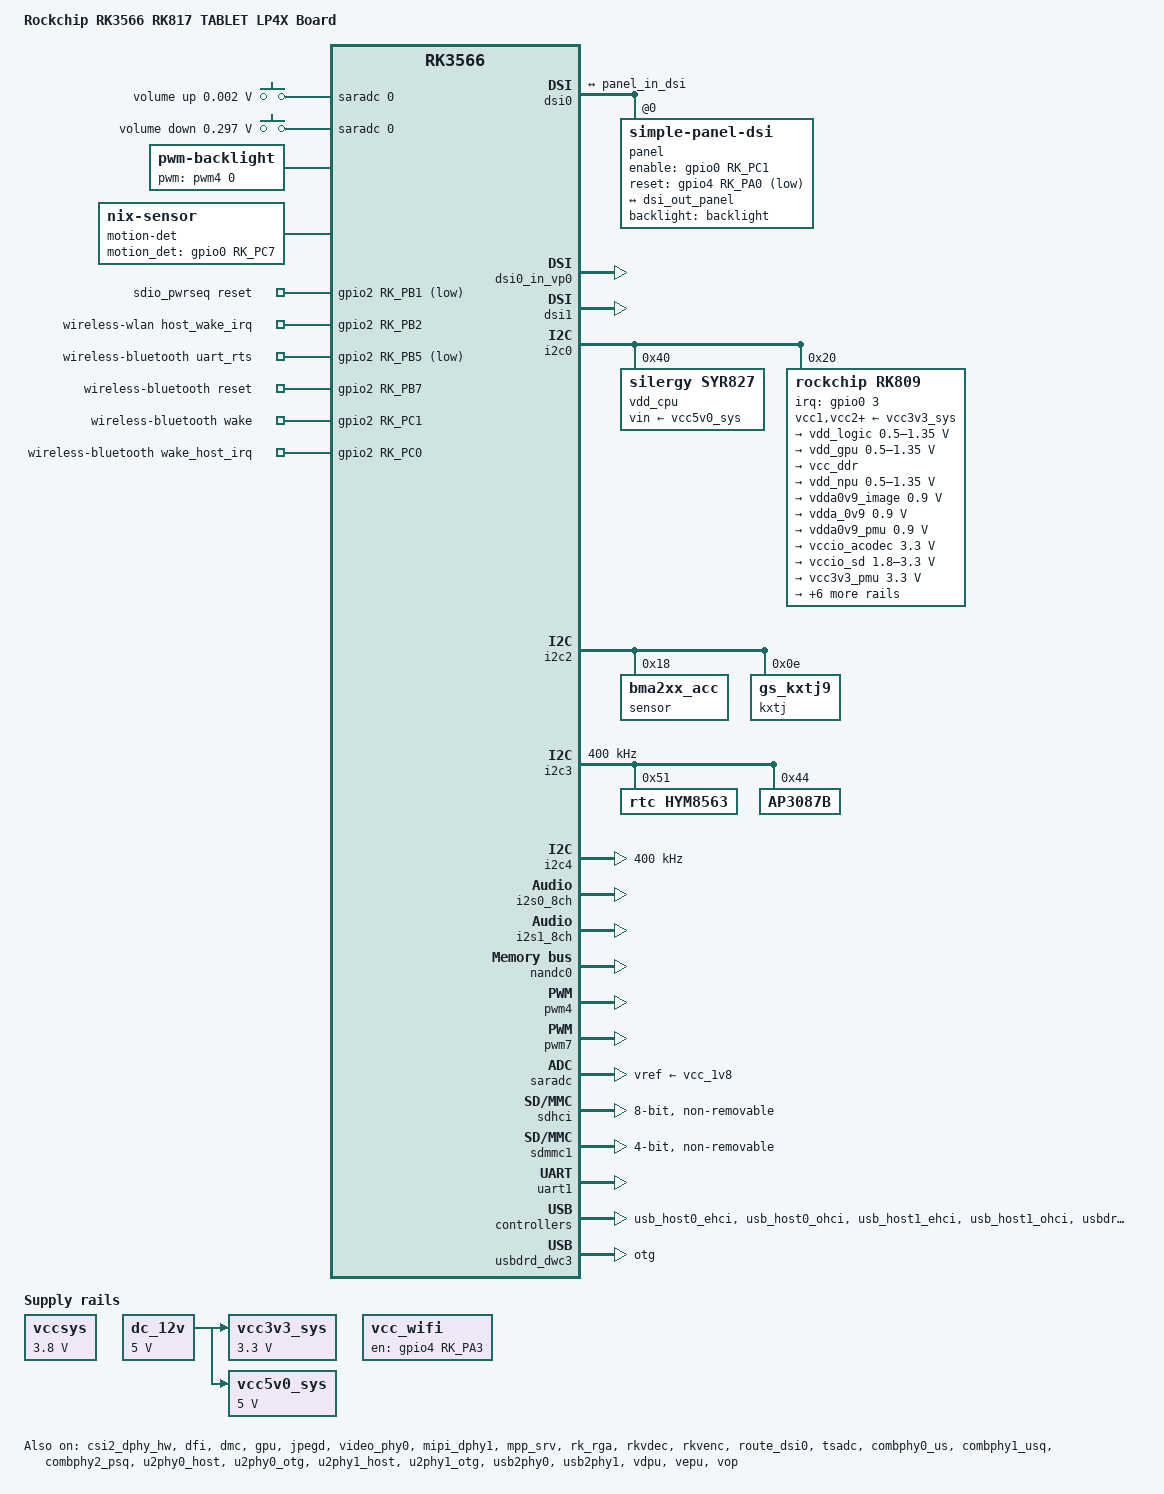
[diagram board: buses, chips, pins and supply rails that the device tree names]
// SPDX-License-Identifier: (GPL-2.0+ OR MIT)
/*
 * Copyright (c) 2020 Rockchip Electronics Co., Ltd.
 *
 */

/dts-v1/;

#include <dt-bindings/gpio/gpio.h>
#include <dt-bindings/pinctrl/rockchip.h>
#include <dt-bindings/input/rk-input.h>
#include <dt-bindings/sensor-dev.h>
#include <dt-bindings/display/drm_mipi_dsi.h>
#include "rk3566.dtsi"
#include "rk3568-android.dtsi"

/ {
	model = "Rockchip RK3566 RK817 TABLET LP4X Board";
	compatible = "rockchip,rk3566-rk817-tablet", "rockchip,rk3566";

	adc_keys: adc-keys {
		compatible = "adc-keys";
		io-channels = <&saradc 0>;
		io-channel-names = "buttons";
		keyup-threshold-microvolt = <1800000>;
		poll-interval = <100>;

		vol-up-key {
			label = "volume up";
			linux,code = <KEY_VOLUMEUP>;
			press-threshold-microvolt = <1750>;
		};

		vol-down-key {
			label = "volume down";
			linux,code = <KEY_VOLUMEDOWN>;
			press-threshold-microvolt = <297500>;
		};
	};

	backlight: backlight {
		compatible = "pwm-backlight";
		pwms = <&pwm4 0 30000 0>;
		brightness-levels = <
			  0   1   2   3   4   5   6   7
			  8   9  10  11  12  13  14  15
			 16  17  18  19  20  21  22  23
			 24  25  26  27  28  29  30  31
			 32  33  34  35  36  37  38  39
			 40  41  42  43  44  45  46  47
			 48  49  50  51  52  53  54  55
			 56  57  58  59  60  61  62  63
			 64  65  66  67  68  69  70  71
			 72  73  74  75  76  77  78  79
			 80  81  82  83  84  85  86  87
			 88  89  90  91  92  93  94  95
			 96  97  98  99 100 101 102 103
			104 105 106 107 108 109 110 111
			112 113 114 115 116 117 118 119
			120 121 122 123 124 125 126 127
			128 129 130 131 132 133 134 135
			136 137 138 139 140 141 142 143
			144 145 146 147 148 149 150 151
			152 153 154 155 156 157 158 159
			160 161 162 163 164 165 166 167
			168 169 170 171 172 173 174 175
			176 177 178 179 180 181 182 183
			184 185 186 187 188 189 190 191
			192 193 194 195 196 197 198 199
			200 201 202 203 204 205 206 207
			208 209 210 211 212 213 214 215
			216 217 218 219 220 221 222 223
			224 225 226 227 228 229 230 231
			232 233 234 235 236 237 238 239
			240 241 242 243 244 245 246 247
			248 249 250 251 252 253 254 255>;
		default-brightness-level = <200>;
		//enable-gpios = <&gpio4 RK_PC4 GPIO_ACTIVE_HIGH>;
		//pinctrl-names = "default";
		//pinctrl-0 = <&bl_en>;
	};

	charge-animation {
		compatible = "rockchip,uboot-charge";
		rockchip,uboot-charge-on = <1>;
		rockchip,android-charge-on = <0>;
		rockchip,uboot-low-power-voltage = <3350>;
		rockchip,screen-on-voltage = <3400>;
		status = "disabled";
	};

	/*flash_rgb13h: flash-rgb13h {
		status = "disabled";
		compatible = "led,rgb13h";
		label = "gpio-flash";
		pinctrl-names = "default";
		pinctrl-0 = <&flash_led_gpios>;
		led-max-microamp = <20000>;
		flash-max-microamp = <20000>;
		flash-max-timeout-us = <1000000>;
		enable-gpio = <&gpio4 6 GPIO_ACTIVE_HIGH>;
		rockchip,camera-module-index = <0>;
		rockchip,camera-module-facing = "back";
	};*/
	
	/*wifi-power {
		compatible = "rockchip,wifi-power";
		wifi-gpio = <&gpio4 RK_PA3 GPIO_ACTIVE_HIGH>;
		pinctrl-names = "default";
		pinctrl-0 = <&wifi_bat>;
	
	};*/
	
	motion-det{
	    compatible = "nix-sensor";
	    motion_det = <&gpio0 RK_PC7 GPIO_ACTIVE_HIGH>;
	    pinctrl-names = "default";
		pinctrl-0 = <&human_det>;
	   status = "okay";
    };

	hdmi_sound: hdmi-sound {
		compatible = "simple-audio-card";
		simple-audio-card,format = "i2s";
		simple-audio-card,mclk-fs = <128>;
		simple-audio-card,name = "rockchip,hdmi";
		status = "disabled";

		simple-audio-card,cpu {
				sound-dai = <&i2s0_8ch>;
		};
		simple-audio-card,codec {
				sound-dai = <&hdmi>;
		};
	};

	vccsys: vccsys {
		compatible = "regulator-fixed";
		regulator-name = "vcc3v8_sys";
		regulator-always-on;
		regulator-boot-on;
		regulator-min-microvolt = <3800000>;
		regulator-max-microvolt = <3800000>;
	};
	
	dc_12v: dc-12v {
		compatible = "regulator-fixed";
		regulator-name = "dc_12v";
		regulator-always-on;
		regulator-boot-on;
		regulator-min-microvolt = <5000000>;//12000000
		regulator-max-microvolt = <5000000>;//12000000
	};
	
	vcc3v3_sys: vcc3v3-sys {
		compatible = "regulator-fixed";
		regulator-name = "vcc3v3_sys";
		regulator-always-on;
		regulator-boot-on;
		regulator-min-microvolt = <3300000>;
		regulator-max-microvolt = <3300000>;
		vin-supply = <&dc_12v>;
	};

	vcc5v0_sys: vcc5v0-sys {
		compatible = "regulator-fixed";
		regulator-name = "vcc5v0_sys";
		regulator-always-on;
		regulator-boot-on;
		regulator-min-microvolt = <5000000>;
		regulator-max-microvolt = <5000000>;
		vin-supply = <&dc_12v>;
	};
	
	vcc_wifi: vcc-wifi-regulator {
		compatible = "regulator-fixed";
		gpio = <&gpio4 RK_PA3 GPIO_ACTIVE_HIGH>;
		pinctrl-names = "default";
		pinctrl-0 = <&wifi_bat>;
		regulator-name = "vcc_wifi";
		enable-active-high;
		regulator-always-on;
		regulator-boot-on;
	};

	/*vcc_camera: vcc-camera-regulator {
		compatible = "regulator-fixed";
		gpio = <&gpio2 RK_PC0 GPIO_ACTIVE_HIGH>;
		pinctrl-names = "default";
		pinctrl-0 = <&camera_pwr>;
		regulator-name = "vcc_camera";
		enable-active-high;
		regulator-always-on;
		regulator-boot-on;
	};*/
	
	/*vcc_4g: vcc-4g-regulator {
		compatible = "regulator-fixed";
		gpio = <&gpio2 RK_PB1 GPIO_ACTIVE_HIGH>;
		pinctrl-names = "default";
		pinctrl-0 = <&pwr_4g>;
		regulator-name = "vcc_4g";
		enable-active-high;
		regulator-always-on;
		regulator-boot-on;
	};*/

	rk809_sound: rk809-sound {
		status = "okay";
		compatible = "simple-audio-card";
		simple-audio-card,format = "i2s";
		simple-audio-card,name = "rockchip,rk809-codec";
		simple-audio-card,mclk-fs = <256>;

		simple-audio-card,cpu {
			sound-dai = <&i2s1_8ch>;
		};
		simple-audio-card,codec {
			sound-dai = <&rk809_codec>;
		};
	};

	/*rk_headset: rk-headset {
		compatible = "rockchip_headset";
		headset_gpio = <&gpio4 RK_PA1 GPIO_ACTIVE_LOW>;
		pinctrl-names = "default";
		pinctrl-0 = <&hp_det>;
		io-channels = <&saradc 2>;
	};*/

	sdio_pwrseq: sdio-pwrseq {
		compatible = "mmc-pwrseq-simple";
		clocks = <&rk809 1>;
		clock-names = "ext_clock";
		pinctrl-names = "default";
		pinctrl-0 = <&wifi_enable_h>;

		/*
		 * On the module itself this is one of these (depending
		 * on the actual card populated):
		 * - SDIO_RESET_L_WL_REG_ON
		 * - PDN (power down when low)
		 */
		post-power-on-delay-ms = <200>;
		reset-gpios = <&gpio2 RK_PB1 GPIO_ACTIVE_LOW>;
	};

	/*vcc_sd: vcc-sd {
		compatible = "regulator-gpio";
		enable-active-low;
		enable-gpio = <&gpio0 RK_PA5 GPIO_ACTIVE_LOW>;
		regulator-min-microvolt = <3300000>;
		regulator-max-microvolt = <3300000>;
		pinctrl-names = "default";
		pinctrl-0 = <&vcc_sd_h>;
		regulator-name = "vcc_sd";
		states = <3300000 0x0
			3300000 0x1>;
	};*/
	
	/*vcc_lcd: vcc-lcd-regulator {
		compatible = "regulator-fixed";
		gpio = <&gpio2 RK_PC1 GPIO_ACTIVE_HIGH>;
		pinctrl-names = "default";
		pinctrl-0 = <&lcd_enable_gpio>;
		regulator-name = "vcc_lcd";
		enable-active-high;
		regulator-always-on;
		regulator-boot-on;
	};*/

	wireless-wlan {
		compatible = "wlan-platdata";
		rockchip,grf = <&grf>;
		wifi_chip_type = "ap6255";//ap6255//rtl8723ds
		pinctrl-names = "default";
		pinctrl-0 = <&wifi_host_wake_irq>;
		//pinctrl-0 = <&wifi_host_wake_irq>,<&wifi_bat>;
		WIFI,host_wake_irq = <&gpio2 RK_PB2 GPIO_ACTIVE_HIGH>;
		//WIFI,vbat_gpio  = <&gpio4 RK_PA3 GPIO_ACTIVE_HIGH>;
		status = "okay";
	};

	wireless-bluetooth {
		compatible = "bluetooth-platdata";
		clocks = <&rk809 1>;
		clock-names = "ext_clock";
		//wifi-bt-power-toggle;
		uart_rts_gpios = <&gpio2 RK_PB5 GPIO_ACTIVE_LOW>;
		pinctrl-names = "default", "rts_gpio";
		pinctrl-0 = <&uart1m0_rtsn>;
		pinctrl-1 = <&uart1_gpios>;
		BT,reset_gpio    = <&gpio2 RK_PB7 GPIO_ACTIVE_HIGH>;
		BT,wake_gpio     = <&gpio2 RK_PC1 GPIO_ACTIVE_HIGH>;
		BT,wake_host_irq = <&gpio2 RK_PC0 GPIO_ACTIVE_HIGH>;
		status = "okay";
	};
	
	//add by rocky
	test-power {
		status = "okay";
	};

};

&cpu0 {
	cpu-supply = <&vdd_cpu>;
};

&csi2_dphy_hw {
	status = "okay";
};

&csi2_dphy0 {
	status = "disabled";

	ports {
		#address-cells = <1>;
		#size-cells = <0>;
		port@0 {
			reg = <0>;
			#address-cells = <1>;
			#size-cells = <0>;

			/*mipi_in_ucam0: endpoint@0 {
				reg = <0>;
				remote-endpoint = <&gc2385_out>;
				data-lanes = <1>;
			};
			mipi_in_ucam1: endpoint@1 {
				reg = <1>;
				remote-endpoint = <&ov8858_out>;
				data-lanes = <1 2 3 4>;
			};*/
			
			mipi_in_ucam0: endpoint@0 {
				reg = <0>;
				remote-endpoint = <&ov5648_out>;
				data-lanes = <1 2>;
			};
		};
		port@1 {
			reg = <1>;
			#address-cells = <1>;
			#size-cells = <0>;

			csidphy0_out: endpoint@0 {
				reg = <0>;
				remote-endpoint = <&isp0_in>;
			};
		};
	};
};

&dfi {
	status = "okay";
};

&dmc {
	center-supply = <&vdd_logic>;
	status = "okay";
};

&dsi0 {
	status = "okay";
	//rockchip,lane-rate = <480>;
	rockchip,dual-channel = <&dsi1>;
	//rockchip,mipi_dsi_num = <2>;
	panel@0 {
		status = "okay";
		//compatible = "aoly,sl008pa21y1285-b00", "simple-panel-dsi";
		compatible = "simple-panel-dsi";
		reg = <0>;

		backlight = <&backlight>;
		//power-supply=<&vcc_3v3>;
		enable-gpios = <&gpio0 RK_PC1 GPIO_ACTIVE_HIGH>;
		reset-gpios = <&gpio4 RK_PA0 GPIO_ACTIVE_LOW>;

		pinctrl-names = "default";
		pinctrl-0 = <&lcd_enable_gpio>, <&lcd_rst_gpio>;

		/*prepare-delay-ms = <120>;
		reset-delay-ms = <200>;
		init-delay-ms = <20>;
		stbyb-delay-ms = <120>;
		enable-delay-ms = <120>;
		disable-delay-ms = <120>;
		unprepare-delay-ms = <120>;*/
		prepare-delay-ms = <60>;
		unprepare-delay-ms = <60>;
		enable-delay-ms = <60>;
		disable-delay-ms = <60>;
		init-delay-ms = <60>;
		reset-delay-ms = <60>;

		//width-mm = <229>;
		//height-mm = <143>;

		dsi,flags = <(MIPI_DSI_MODE_VIDEO | MIPI_DSI_MODE_VIDEO_BURST |
			      MIPI_DSI_MODE_LPM | MIPI_DSI_MODE_EOT_PACKET)>;
		dsi,format = <MIPI_DSI_FMT_RGB888>;
		//dsi,lanes = <4>;
		dsi,lanes = <8>;

		panel-init-sequence = [
            15 00 02 B0 05
			15 00 02 B1 20
			15 00 02 B0 00
			15 00 02 B2 02
			15 00 02 B3 F1
			15 00 02 B4 00
			15 00 02 B6 80
			15 00 02 BA 43
			15 00 02 BE 33
			15 00 02 BF 1A
			15 00 02 CB 11
			15 00 02 CD 11
			15 00 02 B0 01
			15 00 02 C0 10
			15 00 02 C1 00
			15 00 02 C2 09
			15 00 02 C3 0B
			15 00 02 C4 05
			15 00 02 C5 07
			15 00 02 C6 00
			15 00 02 C7 00
			15 00 02 C8 00
			15 00 02 CB 0F
			15 00 02 D3 25
			15 00 02 D4 01
			15 00 02 D5 03
			15 00 02 D6 10
			15 00 02 D7 00
			15 00 02 D8 0A
			15 00 02 D9 0C
			15 00 02 DA 06
			15 00 02 DB 08
			15 00 02 DC 00
			15 00 02 DD 00
			15 00 02 DE 00
			15 00 02 E1 0F
			15 00 02 E9 25
			15 00 02 EA 02
			15 00 02 EB 04
			15 00 02 EC C0
			15 00 02 B0 02
			15 00 02 C0 00
			15 00 02 C1 06
			15 00 02 C2 16
			15 00 02 C3 1C
			15 00 02 C4 2B
			15 00 02 C5 20
			15 00 02 C6 20
			15 00 02 C7 22
			15 00 02 C8 26
			15 00 02 C9 20
			15 00 02 CA 26
			15 00 02 CB 24
			15 00 02 CC 2C
			15 00 02 CD 2A
			15 00 02 CE 32
			15 00 02 CF 31
			15 00 02 D0 35
			15 00 02 D1 35
			15 00 02 D2 33
			15 00 02 D3 33
			15 00 02 D4 18
			15 00 02 D5 1F
			15 00 02 D6 00
			15 00 02 D7 06
			15 00 02 D8 16
			15 00 02 D9 1C
			15 00 02 DA 2B
			15 00 02 DB 20
			15 00 02 DC 20
			15 00 02 DD 22
			15 00 02 DE 26
			15 00 02 DF 20
			15 00 02 E0 26
			15 00 02 E1 24
			15 00 02 E2 2C
			15 00 02 E3 2A
			15 00 02 E4 32
			15 00 02 E5 31
			15 00 02 E6 35
			15 00 02 E7 35
			15 00 02 E8 33
			15 00 02 E9 33
			15 00 02 EA 18
			15 00 02 EB 1F
			15 00 02 B0 03
			15 00 02 C8 09
			15 00 02 C9 07
			15 00 02 CA 41
			15 00 02 CB 14
			15 00 02 D3 04
			15 00 02 D6 88
			15 00 02 D7 08
			15 00 02 C5 30
			15 00 02 DE 30
			15 00 02 B0 06
			15 00 02 B8 A5
			15 00 02 C0 A5
			15 00 02 D5 3F
			15 00 02 B0 00
			15 00 02 B6 83
			15 00 02 B0 07
			15 00 02 B1 00
			15 00 02 B2 00
			15 00 02 B3 01
			15 00 02 B4 0A
			15 00 02 B5 16
			15 00 02 B6 24
			15 00 02 B7 40
			15 00 02 B8 60
			15 00 02 B9 A3
			15 00 02 BA E3
			15 00 02 BB 57
			15 00 02 BC D4
			15 00 02 BD D8
			15 00 02 BE 54
			15 00 02 BF CE
			15 00 02 C0 0C
			15 00 02 C1 4A
			15 00 02 C2 68
			15 00 02 C3 89
			15 00 02 C4 97
			15 00 02 C5 A5
			15 00 02 C6 B4
			15 00 02 C7 BC
			15 00 02 C8 C0
			15 00 02 C9 00
			15 00 02 CA 00
			15 00 02 CB 05
			15 00 02 CC 6B
			15 00 02 CD FF
			15 00 02 CE FF
			15 00 02 B0 08
			15 00 02 B1 00
			15 00 02 B2 00
			15 00 02 B3 03
			15 00 02 B4 0B
			15 00 02 B5 18
			15 00 02 B6 25
			15 00 02 B7 43
			15 00 02 B8 64
			15 00 02 B9 A8
			15 00 02 BA E9
			15 00 02 BB 63
			15 00 02 BC E0
			15 00 02 BD E4
			15 00 02 BE 63
			15 00 02 BF DC
			15 00 02 C0 1C
			15 00 02 C1 57
			15 00 02 C2 78
			15 00 02 C3 96
			15 00 02 C4 A4
			15 00 02 C5 B2
			15 00 02 C6 C1
			15 00 02 C7 CA
			15 00 02 C8 D0
			15 00 02 C9 00
			15 00 02 CA 00
			15 00 02 CB 05
			15 00 02 CC 6B
			15 00 02 CD FF
			15 00 02 CE FF
			15 00 02 B0 09
			15 00 02 B1 00
			15 00 02 B2 00
			15 00 02 B3 04
			15 00 02 B4 0C
			15 00 02 B5 19
			15 00 02 B6 28
			15 00 02 B7 47
			15 00 02 B8 6A
			15 00 02 B9 B2
			15 00 02 BA F3
			15 00 02 BB 77
			15 00 02 BC F8
			15 00 02 BD FC
			15 00 02 BE 81
			15 00 02 BF 02
			15 00 02 C0 43
			15 00 02 C1 83
			15 00 02 C2 A0
			15 00 02 C3 BD
			15 00 02 C4 CF
			15 00 02 C5 E0
			15 00 02 C6 EF
			15 00 02 C7 F8
			15 00 02 C8 FC
			15 00 02 C9 00
			15 00 02 CA 00
			15 00 02 CB 05
			15 00 02 CC 6F
			15 00 02 CD FF
			15 00 02 CE FF
			15 00 02 B0 0A
			15 00 02 B1 00
			15 00 02 B2 00
			15 00 02 B3 01
			15 00 02 B4 0A
			15 00 02 B5 16
			15 00 02 B6 24
			15 00 02 B7 40
			15 00 02 B8 60
			15 00 02 B9 A3
			15 00 02 BA E3
			15 00 02 BB 57
			15 00 02 BC D4
			15 00 02 BD D8
			15 00 02 BE 54
			15 00 02 BF CE
			15 00 02 C0 0C
			15 00 02 C1 4A
			15 00 02 C2 68
			15 00 02 C3 89
			15 00 02 C4 97
			15 00 02 C5 A5
			15 00 02 C6 B4
			15 00 02 C7 BC
			15 00 02 C8 C0
			15 00 02 C9 00
			15 00 02 CA 00
			15 00 02 CB 05
			15 00 02 CC 6B
			15 00 02 CD FF
			15 00 02 CE FF
			15 00 02 B0 0B
			15 00 02 B1 00
			15 00 02 B2 00
			15 00 02 B3 03
			15 00 02 B4 0B
			15 00 02 B5 18
			15 00 02 B6 25
			15 00 02 B7 43
			15 00 02 B8 64
			15 00 02 B9 A8
			15 00 02 BA E9
			15 00 02 BB 63
			15 00 02 BC E0
			15 00 02 BD E4
			15 00 02 BE 63
			15 00 02 BF DC
			15 00 02 C0 1C
			15 00 02 C1 57
			15 00 02 C2 78
			15 00 02 C3 96
			15 00 02 C4 A4
			15 00 02 C5 B2
			15 00 02 C6 C1
			15 00 02 C7 CA
			15 00 02 C8 D0
			15 00 02 C9 00
			15 00 02 CA 00
			15 00 02 CB 05
			15 00 02 CC 6B
			15 00 02 CD FF
			15 00 02 CE FF
			15 00 02 B0 0C
			15 00 02 B1 00
			15 00 02 B2 00
			15 00 02 B3 04
			15 00 02 B4 0C
			15 00 02 B5 19
			15 00 02 B6 28
			15 00 02 B7 47
			15 00 02 B8 6A
			15 00 02 B9 B2
			15 00 02 BA F3
			15 00 02 BB 77
			15 00 02 BC F8
			15 00 02 BD FC
			15 00 02 BE 81
			15 00 02 BF 02
			15 00 02 C0 43
			15 00 02 C1 83
			15 00 02 C2 A0
			15 00 02 C3 BD
			15 00 02 C4 CF
			15 00 02 C5 E0
			15 00 02 C6 EF
			15 00 02 C7 F8
			15 00 02 C8 FC
			15 00 02 C9 00
			15 00 02 CA 00
			15 00 02 CB 05
			15 00 02 CC 6F
			15 00 02 CD FF
			15 00 02 CE FF
			05 78 01 11
			05 14 01 29

		];

		panel-exit-sequence = [
			05 00 01 28
			05 00 01 10
		];

		display-timings {
			native-mode = <&timing0>;

			timing0: timing0 {
				clock-frequency = <240000000>;
				hactive = <1536>;
				vactive = <2048>;
				hsync-len = <4>;
				hback-porch = <200>;
				hfront-porch = <200>;
				
				vsync-len = <2>;
				vback-porch = <12>;
				vfront-porch = <14>;
				
				hsync-active = <0>;
				vsync-active = <0>;
				de-active = <0>;
				pixelclk-active = <0>;
			};
		};

		ports {
			#address-cells = <1>;
			#size-cells = <0>;

			port@0 {
				reg = <0>;
				panel_in_dsi: endpoint {
					remote-endpoint = <&dsi_out_panel>;
				};
			};
		};
	};

	ports {
		#address-cells = <1>;
		#size-cells = <0>;

		port@1 {
			reg = <1>;
			dsi_out_panel: endpoint {
				remote-endpoint = <&panel_in_dsi>;
			};
		};
	};

};

&dsi0_in_vp0 {
	status = "okay";
};

&dsi0_in_vp1 {
	status = "disabled";
};

&dsi1 {
	status = "okay";
};

&gpu {
	mali-supply = <&vdd_gpu>;
	status = "okay";
};

&hdmi {
	status = "disabled";
	rockchip,phy-table =
		<92812500  0x8009 0x0000 0x0270>,
		<165000000 0x800b 0x0000 0x026d>,
		<185625000 0x800b 0x0000 0x01ed>,
		<297000000 0x800b 0x0000 0x01ad>,
		<594000000 0x8029 0x0000 0x0088>,
		<000000000 0x0000 0x0000 0x0000>;
};

&hdmi_in_vp0 {
	status = "disabled";
};

&hdmi_in_vp1 {
	status = "disabled";
};

&hdmi_sound {
	status = "disabled";
};

&i2c0 {
	status = "okay";

	/*vdd_cpu: tcs4525@1c {
		compatible = "tcs,tcs452x";
		reg = <0x1c>;
		vin-supply = <&vccsys>;
		regulator-compatible = "fan53555-reg";
		regulator-name = "vdd_cpu";
		regulator-min-microvolt = <712500>;
		regulator-max-microvolt = <1390000>;
		regulator-init-microvolt = <900000>;
		regulator-ramp-delay = <2300>;
		fcs,suspend-voltage-selector = <1>;
		regulator-boot-on;
		regulator-always-on;
		regulator-state-mem {
			regulator-off-in-suspend;
		};
	};*/
	
	vdd_cpu: syr827@40 {
		compatible = "silergy,syr827";
		reg = <0x40>;
		vin-supply = <&vcc5v0_sys>;
		regulator-compatible = "fan53555-reg";
		//pinctrl-0 = <&soc_slppin_gpio>;
		//vsel-gpios = <&gpio0 2 GPIO_ACTIVE_HIGH>;
		regulator-name = "vdd_cpu";
		regulator-min-microvolt = <712500>;
		regulator-max-microvolt = <1500000>;
		regulator-init-microvolt = <900000>;//rocky
		regulator-ramp-delay = <1000>;
		fcs,suspend-voltage-selector = <1>;
		regulator-always-on;
		regulator-boot-on;
		regulator-initial-state = <3>;
		regulator-state-mem {
			regulator-off-in-suspend;
		};
	};

	rk809: pmic@20 {
		compatible = "rockchip,rk809";
		reg = <0x20>;
		interrupt-parent = <&gpio0>;
		interrupts = <3 IRQ_TYPE_LEVEL_LOW>;

		pinctrl-names = "default", "pmic-sleep",
				"pmic-power-off", "pmic-reset";
		pinctrl-0 = <&pmic_int>;
		pinctrl-1 = <&soc_slppin_slp>, <&rk817_slppin_slp>;
		pinctrl-2 = <&soc_slppin_gpio>, <&rk817_slppin_pwrdn>;
		pinctrl-3 = <&soc_slppin_gpio>, <&rk817_slppin_rst>;

		rockchip,system-power-controller;
		wakeup-source;
		#clock-cells = <1>;
		clock-output-names = "rk808-clkout1", "rk808-clkout2";
		//fb-inner-reg-idxs = <2>;
		/* 1: rst regs (default in codes), 0: rst the pmic */
		pmic-reset-func = <0>;
		/* not save the PMIC_POWER_EN register in uboot */
		not-save-power-en = <1>;

		vcc1-supply = <&vcc3v3_sys>;
		vcc2-supply = <&vcc3v3_sys>;
		vcc3-supply = <&vcc3v3_sys>;
		vcc4-supply = <&vcc3v3_sys>;
		vcc5-supply = <&vcc3v3_sys>;
		vcc6-supply = <&vcc3v3_sys>;
		vcc7-supply = <&vcc3v3_sys>;
		vcc8-supply = <&vcc3v3_sys>;
		vcc9-supply = <&vcc3v3_sys>;

		pwrkey {
			status = "okay";
		};
		
		rtc {
			status = "okay";
		};

		pinctrl_rk8xx: pinctrl_rk8xx {
			gpio-controller;
			#gpio-cells = <2>;

			rk817_slppin_null: rk817_slppin_null {
				pins = "gpio_slp";
				function = "pin_fun0";
			};

			rk817_slppin_slp: rk817_slppin_slp {
				pins = "gpio_slp";
				function = "pin_fun1";
			};

			rk817_slppin_pwrdn: rk817_slppin_pwrdn {
				pins = "gpio_slp";
				function = "pin_fun2";
			};

			rk817_slppin_rst: rk817_slppin_rst {
				pins = "gpio_slp";
				function = "pin_fun3";
			};
		};

		regulators {
			vdd_logic: DCDC_REG1 {
				regulator-always-on;
				regulator-boot-on;
				regulator-min-microvolt = <500000>;
				regulator-max-microvolt = <1350000>;
				regulator-init-microvolt = <900000>;
				regulator-ramp-delay = <6001>;
				regulator-initial-mode = <0x2>;
				regulator-name = "vdd_logic";
				regulator-state-mem {
					regulator-on-in-suspend;//rocky
					regulator-suspend-microvolt = <900000>;
				};
			};

			vdd_gpu: DCDC_REG2 {
				regulator-always-on;
				regulator-boot-on;
				regulator-min-microvolt = <500000>;
				regulator-max-microvolt = <1350000>;
				regulator-init-microvolt = <900000>;
				regulator-ramp-delay = <6001>;
				regulator-initial-mode = <0x2>;
				regulator-name = "vdd_gpu";
				regulator-state-mem {
					regulator-off-in-suspend;
				};
			};

			vcc_ddr: DCDC_REG3 {
				regulator-always-on;
				regulator-boot-on;
				regulator-initial-mode = <0x2>;
				regulator-name = "vcc_ddr";
				regulator-state-mem {
					regulator-on-in-suspend;
				};
			};

			vdd_npu: DCDC_REG4 {
				regulator-always-on;
				regulator-boot-on;
				regulator-min-microvolt = <500000>;
				regulator-max-microvolt = <1350000>;
				regulator-init-microvolt = <900000>;
				regulator-ramp-delay = <6001>;
				regulator-initial-mode = <0x2>;
				regulator-name = "vdd_npu";
				regulator-state-mem {
					regulator-off-in-suspend;
				};
			};

			vdda0v9_image: LDO_REG1 {
				regulator-boot-on;
				regulator-always-on;
				regulator-min-microvolt = <900000>;
				regulator-max-microvolt = <900000>;
				regulator-name = "vdda0v9_image";
				regulator-state-mem {
					regulator-off-in-suspend;
				};
			};

			vdda_0v9: LDO_REG2 {
				regulator-always-on;
				regulator-boot-on;
				regulator-min-microvolt = <900000>;
				regulator-max-microvolt = <900000>;
				regulator-name = "vdda_0v9";
				regulator-state-mem {
					regulator-off-in-suspend;
				};
			};

			vdda0v9_pmu: LDO_REG3 {
				regulator-always-on;
				regulator-boot-on;
				regulator-min-microvolt = <900000>;
				regulator-max-microvolt = <900000>;
				regulator-name = "vdda0v9_pmu";
				regulator-state-mem {
					regulator-on-in-suspend;
					regulator-suspend-microvolt = <900000>;
				};
			};

			vccio_acodec: LDO_REG4 {
				regulator-always-on;
				regulator-boot-on;
				regulator-min-microvolt = <3300000>;
				regulator-max-microvolt = <3300000>;
				regulator-name = "vccio_acodec";
				regulator-state-mem {
					regulator-off-in-suspend;
				};
			};

			vccio_sd: LDO_REG5 {
				regulator-always-on;
				regulator-boot-on;
				regulator-min-microvolt = <1800000>;
				regulator-max-microvolt = <3300000>;
				regulator-name = "vccio_sd";
				regulator-state-mem {
					regulator-off-in-suspend;
				};
			};

			vcc3v3_pmu: LDO_REG6 {
				regulator-always-on;
				regulator-boot-on;
				regulator-min-microvolt = <3300000>;
				regulator-max-microvolt = <3300000>;
				regulator-name = "vcc3v3_pmu";
				regulator-state-mem {
					regulator-on-in-suspend;
					regulator-suspend-microvolt = <3300000>;
				};
			};

			vcca_1v8: LDO_REG7 {
				regulator-always-on;
				regulator-boot-on;
				regulator-min-microvolt = <1800000>;
				regulator-max-microvolt = <1800000>;
				regulator-name = "vcca_1v8";
				regulator-state-mem {
					regulator-off-in-suspend;
				};
			};

			vcca1v8_pmu: LDO_REG8 {
				regulator-always-on;
				regulator-boot-on;
				regulator-min-microvolt = <1800000>;
				regulator-max-microvolt = <1800000>;
				regulator-name = "vcca1v8_pmu";
				regulator-state-mem {
					regulator-on-in-suspend;
					regulator-suspend-microvolt = <1800000>;
				};
			};

			vcca1v8_image: LDO_REG9 {
				regulator-always-on;
				regulator-boot-on;
				regulator-min-microvolt = <1800000>;
				regulator-max-microvolt = <1800000>;
				regulator-name = "vcca1v8_image";
				regulator-state-mem {
					regulator-off-in-suspend;
				};
			};

			vcc_1v8: DCDC_REG5 {
				regulator-always-on;
				regulator-boot-on;
				regulator-min-microvolt = <1800000>;
				regulator-max-microvolt = <1800000>;
				regulator-name = "vcc_1v8";
				regulator-state-mem {
					regulator-on-in-suspend;
					regulator-suspend-microvolt = <1800000>;
				};
			};

			vcc_3v3: SWITCH_REG1 {
				regulator-always-on;
				regulator-boot-on;
				regulator-name = "vcc_3v3";
				regulator-state-mem {
					regulator-on-in-suspend;
				};
			};

			vcc3v3_sd: SWITCH_REG2 {
				regulator-always-on;
				regulator-boot-on;
				regulator-name = "vcc3v3_sd";
				regulator-state-mem {
					regulator-off-in-suspend;
				};
			};
		};

		rk809_codec: codec {
			#sound-dai-cells = <0>;
			compatible = "rockchip,rk809-codec", "rockchip,rk817-codec";
			clocks = <&cru I2S1_MCLKOUT>;
			clock-names = "mclk";
			assigned-clocks = <&cru I2S1_MCLKOUT>, <&cru I2S1_MCLK_TX_IOE>;
			assigned-clock-rates = <12288000>;
			assigned-clock-parents = <&cru I2S1_MCLKOUT_TX>, <&cru I2S1_MCLKOUT_TX>;
			pinctrl-names = "default";
			pinctrl-0 = <&i2s1m0_mclk>;
			hp-volume = <8>;//20-4.39mW//add 22Ohm  8-0.385-4.49mW
			spk-volume = <10>;//35-1.47W
			capture-volume = <20>;
			//out-l2spk-r2hp;
			//mic-in-differential;
			//pdmdata-out-enable;
			use-ext-amplifier;
			//adc-for-loopback;
			spk-ctl-gpios = <&gpio0 RK_PB7 GPIO_ACTIVE_HIGH>;
			status = "okay";
		};
	};
};

&i2c2 {
	status = "okay";
	pinctrl-0 = <&i2c2m1_xfer>;

	sensor@18 {
		status = "okay";
		compatible = "bma2xx_acc";
		reg = <0x18>;
		type = <SENSOR_TYPE_ACCEL>;
		irq_enable = <0>;
		//pinctrl-names = "default";
		//pinctrl-0 = <&sensor_gpio>;
		//irq-gpio = <&gpio4 RK_PA6 IRQ_TYPE_EDGE_RISING>;
		poll_delay_ms = <10>;
		power-off-in-suspend = <1>;
		layout = <1>;
	};
	
	kxtj: kxtj2@0e {
		status = "okay";
		compatible = "gs_kxtj9";
		reg = <0x0e>;
		type = <SENSOR_TYPE_ACCEL>;
		irq_enable = <0>;
		//pinctrl-names = "default";
		//pinctrl-0 = <&sensor_gpio>;
		//irq-gpio = <&gpio4 RK_PA6 IRQ_TYPE_EDGE_RISING>;
		poll_delay_ms = <30>;
		power-off-in-suspend = <1>;
		layout = <2>;
	};

	dw9714: dw9714@c {
		compatible = "dongwoon,dw9714";
		status = "disabled";
		reg = <0x0c>;
		rockchip,camera-module-index = <0>;
		rockchip,vcm-start-current = <10>;
		rockchip,vcm-rated-current = <85>;
		rockchip,vcm-step-mode = <5>;
		rockchip,camera-module-facing = "back";
	};

	/*gc2385: gc2385@37 {
		compatible = "galaxycore,gc2385";
		status = "disabled";
		reg = <0x37>;
		clocks = <&cru CLK_CIF_OUT>;
		clock-names = "xvclk";
		power-domains = <&power RK3568_PD_VI>;
		pinctrl-names = "rockchip,camera_default";
		pinctrl-0 = <&cif_clk>;

		//reset pin control by hardware,used this pin switch to mipi input
		//1->2LANE(LANE 0&1) FRONT camera, 0->4LANE REAR camera
		reset-gpios = <&gpio4 17 GPIO_ACTIVE_LOW>;
		pwdn-gpios = <&gpio4 10 GPIO_ACTIVE_HIGH>;
		rockchip,camera-module-index = <1>;
		rockchip,camera-module-facing = "front";
		rockchip,camera-module-name = "HS5885-BNSM1018-V01";
		rockchip,camera-module-lens-name = "default";
		port {
			gc2385_out: endpoint {
				remote-endpoint = <&mipi_in_ucam0>;
				data-lanes = <1>;
			};
		};
	};

	ov8858: ov8858@36 {
		status = "disabled";
		compatible = "ovti,ov8858";
		reg = <0x36>;
		clocks = <&cru CLK_CAM0_OUT>;
		clock-names = "xvclk";
		power-domains = <&power RK3568_PD_VI>;
		pinctrl-names = "rockchip,camera_default", "rockchip,camera_sleep";
		pinctrl-0 = <&cam_clkout0>;
		pinctrl-1 = <&cam_sleep>;
		//reset pin control by hardware,used this pin switch to mipi input
		//1->2LANE(LANE 0&1) FRONT camera, 0->4LANE REAR camera
		reset-gpios = <&gpio4 17 GPIO_ACTIVE_LOW>;
		pwdn-gpios = <&gpio4 11 GPIO_ACTIVE_HIGH>;
		rockchip,camera-module-index = <0>;
		rockchip,camera-module-facing = "back";
		rockchip,camera-module-name = "HS5885-BNSM1018-V01";
		rockchip,camera-module-lens-name = "default";
		flash-leds = <&flash_rgb13h>;
		lens-focus = <&dw9714>;
		port {
			ov8858_out: endpoint {
				remote-endpoint = <&mipi_in_ucam1>;
				data-lanes = <1 2 3 4>;
			};
		};
	};*/
	
	ov5648: ov5648@36 {
		compatible = "ovti,ov5648";
		status = "disabled";
		reg = <0x36>;
		clocks = <&cru CLK_CAM0_OUT>;
		clock-names = "xvclk";
		power-domains = <&power RK3568_PD_VI>;//rocky
		/* avdd-supply = <>; */
		/* dvdd-supply = <>; */
		/* dovdd-supply = <>; */
		/* reset-gpios = <>; */
		//dovdd-supply = <&vcc1v8_dvp>;          
		//reset-gpios = <&gpio2 0 GPIO_ACTIVE_HIGH>; 
        pwdn-gpios = <&gpio4 14 GPIO_ACTIVE_HIGH>;
		pinctrl-names = "rockchip,camera_default", "rockchip,camera_sleep";
		pinctrl-0 = <&cam_clkout0>;
		pinctrl-1 = <&cam_sleep>;	
		rockchip,camera-module-index = <0>;
		rockchip,camera-module-facing = "front";
		rockchip,camera-module-name = "default";
		rockchip,camera-module-lens-name = "default";                

		port {
				ov5648_out: endpoint {
						remote-endpoint = <&mipi_in_ucam0>;
						//remote-endpoint = <&mipi_in_ucam1>;
						data-lanes = <1 2>;
				};
		};
    };
	
};

&i2c3 {
	status = "okay";
	pinctrl-names = "default";
	pinctrl-0 = <&i2c3m0_xfer>;
	clock-frequency = <400000>;
	i2c-scl-rising-time-ns = <138>;
	i2c-scl-falling-time-ns = <4>;

	hym8563: hym8563@51 {
		compatible = "rtc,hym8563";
		reg = <0x51>;		
		#clock-cells = <0>;
		//pinctrl-names = "default";
		//pinctrl-0 = <&rtc_mcu_de1 &rtc_mcu_de2>;
		//pinctrl-0 = <&rtc_mcu_de1 &rtc_mcu_de22>;
		//irq_gpio = <&gpio7 13 IRQ_TYPE_EDGE_FALLING>;
		//mcu-io-init = <&gpio0 RK_PA0 GPIO_ACTIVE_HIGH>;//CPU_MCU_DE2
		//mcu-io-init = <&gpio0 RK_PB7 GPIO_ACTIVE_HIGH>;//CPU_MCU_DE2
		//mcu-io-det = <&gpio0 RK_PA6 GPIO_ACTIVE_HIGH>;//CPU_MCU_DE1
		status = "okay";
	};
	
	AP3087B@44 {
        status = "okay";
        compatible = "AP3087B";
        reg = <0x44>;
    };
	
};

&i2c4 {
	status = "okay";
	clock-frequency = <400000>;

	/*gt1x: gt1x@14 {
		compatible = "goodix,gt1x";
		reg = <0x14>;
		pinctrl-names = "default";
		pinctrl-0 = <&tp_gpio>;
		goodix,rst-gpio = <&gpio3 RK_PC6 GPIO_ACTIVE_HIGH>;
		goodix,irq-gpio = <&gpio3 RK_PC7 IRQ_TYPE_LEVEL_LOW>;
		status = "okay";
	};*/
	
	ts@14 {
		compatible = "goodix,gt9xx";
		reg = <0x14>;
		pinctrl-names = "default";
		pinctrl-0 = <&tp_gpio>;
		touch-gpio = <&gpio3 RK_PC7 IRQ_TYPE_LEVEL_LOW>;
		reset-gpio = <&gpio3 RK_PC6 GPIO_ACTIVE_HIGH>;
		//power-gpio = <&gpio0 GPIO_C5 GPIO_ACTIVE_LOW>;
		max-x = <1280>;
		max-y = <800>;
		//tp-size = <101>;
		tp-size = <89>;
		//tp-supply = <&pmic_vcc_tp_33>;
		status = "disabled";
    	};	
};

&i2c5 {
	status = "disabled";
	clock-frequency = <400000>;
	i2c-scl-rising-time-ns = <144>;
	i2c-scl-falling-time-ns = <4>;

	/*sensor@18 {
		compatible = "gs_sc7a20";
		reg = <0x18>;
		type = <SENSOR_TYPE_ACCEL>;
		irq_enable = <0>;
		pinctrl-names = "default";
		pinctrl-0 = <&sensor_gpio>;
		irq-gpio = <&gpio3 RK_PA2 IRQ_TYPE_EDGE_RISING>;
		poll_delay_ms = <10>;
		layout = <1>;
	};*/
};

&i2s0_8ch {
	status = "okay";
};

&i2s1_8ch {
	status = "okay";
	#sound-dai-cells = <0>;//rocky
	rockchip,clk-trcm = <1>;
	pinctrl-names = "default";
	pinctrl-0 = <&i2s1m0_sclktx
		     &i2s1m0_lrcktx
		     &i2s1m0_sdi0
		     &i2s1m0_sdo0>;
};

&jpegd {
	status = "okay";
};

&jpegd_mmu {
	status = "okay";
};

&video_phy0 {
	status = "okay";
};

&mipi_dphy1 {
	status = "okay";
};

&mpp_srv {
	status = "okay";
};

&nandc0 {
	status = "okay";
};

&rockchip_suspend {
	status = "okay";
	rockchip,sleep-mode-config = <
		(0
		| RKPM_SLP_CENTER_OFF
		| RKPM_SLP_HW_PLLS_OFF
		| RKPM_SLP_PMUALIVE_32K
		| RKPM_SLP_PMIC_LP
		| RKPM_SLP_32K_PVTM
		)
	>;
	rockchip,wakeup-config = <
		(0
		| RKPM_PWM0_WKUP_EN
		| RKPM_CPU0_WKUP_EN
		/*| RKPM_GPIO_WKUP_EN*/
		)
	>;
};

&pinctrl {
	cam {
		cam_clkout0: cam-clkout0 {
			rockchip,pins =
				/* cam_clkout0 */
				<4 RK_PA7 1 &pcfg_pull_none>;
		};

		cam_sleep: cam-sleep {
			rockchip,pins =
				/* cam_sleep */
				<4 RK_PA7 RK_FUNC_GPIO &pcfg_pull_none>;
		};
	#if 0
		camera_rst: camera-rst {
			rockchip,pins =
				/* front camera reset */
				<4 RK_PB0 RK_FUNC_GPIO &pcfg_pull_none>,
				/* back camra reset */
				<4 RK_PB1 RK_FUNC_GPIO &pcfg_pull_none>;
		};
	
		flash_led_gpios: flash-led {
			rockchip,pins =
				/* flash led enable */
				<4 RK_PA6 RK_FUNC_GPIO &pcfg_pull_none>;
		};
	#endif
	
		/*camera_pwr: camera-pwr {
			rockchip,pins =
				<2 RK_PC0 RK_FUNC_GPIO &pcfg_pull_none>;
		};*/
		
		/*pwr_4g: pwr-4g {
			rockchip,pins =
				<2 RK_PB1 RK_FUNC_GPIO &pcfg_pull_none>;
		};*/
		
	};

	tp {
		tp_gpio: tp-gpio {
			rockchip,pins = <3 RK_PC7 RK_FUNC_GPIO &pcfg_pull_up>,
					<3 RK_PC6 RK_FUNC_GPIO &pcfg_pull_none>;
		};
	};

	/*headphone {
		hp_det: hp-det {
			rockchip,pins = <4 RK_PA1 RK_FUNC_GPIO &pcfg_pull_down>;
		};
	};*/

    bl_ctrl {
		bl_en: bl-en {
			rockchip,pins = <4 RK_PC4 RK_FUNC_GPIO &pcfg_pull_none>;
		};
	};
	
	lcd {
		lcd_rst_gpio: lcd-rst-gpio {
			rockchip,pins = <4 RK_PA0 RK_FUNC_GPIO &pcfg_pull_none>;
		};

		lcd_enable_gpio: lcd-enable-gpio {
			rockchip,pins = <0 RK_PC1 RK_FUNC_GPIO &pcfg_pull_none>;
		};

	};

	pmic {
		pmic_int: pmic_int {
			rockchip,pins =
				<0 RK_PA3 RK_FUNC_GPIO &pcfg_pull_up>;
		};

		soc_slppin_gpio: soc_slppin_gpio {
			rockchip,pins =
				<0 RK_PA2 RK_FUNC_GPIO &pcfg_output_low>;
		};

		soc_slppin_slp: soc_slppin_slp {
			rockchip,pins =
				<0 RK_PA2 1 &pcfg_pull_none>;
		};

		soc_slppin_rst: soc_slppin_rst {
			rockchip,pins =
				<0 RK_PA2 2 &pcfg_pull_none>;
		};
	};

	sensor {
		sensor_gpio: sensor-gpio {
			rockchip,pins = <4 RK_PA6 RK_FUNC_GPIO &pcfg_pull_none>;
		};
		human_det: human-det {
			rockchip,pins = <0 RK_PC7 RK_FUNC_GPIO &pcfg_pull_none>;
		};
	};

	sdio-pwrseq {
		wifi_enable_h: wifi-enable-h {
			rockchip,pins = <2 RK_PB1 RK_FUNC_GPIO &pcfg_pull_none>;
		};
	};

	/*vcc_sd {
		vcc_sd_h: vcc-sd-h {
			rockchip,pins = <0 RK_PA5 RK_FUNC_GPIO &pcfg_pull_none>;
		};
	};*/

	wireless-wlan {
		wifi_host_wake_irq: wifi-host-wake-irq {
			rockchip,pins = <2 RK_PB2 RK_FUNC_GPIO &pcfg_pull_down>;
		};
		wifi_bat: wifi-bat {
			rockchip,pins = <4 RK_PA3 RK_FUNC_GPIO &pcfg_pull_none>;
		};
	};

	wireless-bluetooth {
		uart1_gpios: uart1-gpios {
			rockchip,pins = <2 RK_PB5 RK_FUNC_GPIO &pcfg_pull_none>;
		};
	};
};

&pmu_io_domains {
	status = "okay";
	pmuio1-supply = <&vcc3v3_pmu>;
	pmuio2-supply = <&vcc3v3_pmu>;
	vccio1-supply = <&vccio_acodec>;
	vccio3-supply = <&vccio_sd>;
	vccio4-supply = <&vcc3v3_sys>;//<&vcc_3v3>;//<&vcc_1v8>;//<&vcca1v8_pmu>;
	vccio5-supply = <&vcc_3v3>;//<&vcc_1v8>;
	vccio6-supply = <&vcc_1v8>;//<&vcc1v8_dvp>;
	vccio7-supply = <&vcc_3v3>;
};

&pwm4 {
	status = "okay";
};

&pwm7 {
	status = "okay";

	compatible = "rockchip,remotectl-pwm";
	//interrupts = <GIC_SPI 83 IRQ_TYPE_LEVEL_HIGH>;
	remote_pwm_id = <3>;
	handle_cpu_id = <1>;
	remote_support_psci = <1>;//0
	pinctrl-names = "default";
	pinctrl-0 = <&pwm7_pins>;

	ir_key1 {
            rockchip,usercode = <0xff00>;
            rockchip,key_table =                        
				<0xe7   KEY_POWER>,
				<0xe8   388>,    
				<0xb9   KEY_UP>,
				<0xe9   KEY_DOWN>,
				<0xb8   KEY_LEFT>,
				<0xea   KEY_RIGHT>,
				<0xaa   KEY_ENTER>,
                <0xf9   KEY_HOME>,
				<0xbd   164>,
				<0xbf   KEY_BACK>,
                <0xeb   KEY_VOLUMEDOWN>,			
				<0xfb   KEY_MENU>,
                <0xef   KEY_VOLUMEUP>;
        };
	
    ir_key2 {
            rockchip,usercode = <0x7f80>;
            rockchip,key_table =                        
				<0xed   KEY_POWER>,
				<0xf2   388>,    
				<0xfa   KEY_UP>,
				<0xe4   KEY_DOWN>,
				<0xf8   KEY_LEFT>,
				<0xf6   KEY_RIGHT>,
				<0xf7   KEY_ENTER>,			
				<0xfb   KEY_MENU>,			
                <0xfe   KEY_HOME>,						
				<0xf9   KEY_BACK>,			
                <0xf3   KEY_VOLUMEDOWN>,						
                <0xf1   KEY_VOLUMEUP>;
        };	
		
	/*ir_key3 {
            rockchip,usercode = <0x01fe>;
            rockchip,key_table =                        
				<0x48   KEY_POWER>,
				<0xb0   388>,    
				<0xa0   KEY_UP>,
				<0xd8   KEY_DOWN>,
				<0xe0   KEY_LEFT>,
				<0x90   KEY_RIGHT>,
				<0x10   KEY_ENTER>,			
				<0x20   KEY_MENU>,			
				<0x80   KEY_HOME>,						
				<0x60   KEY_BACK>,			
				<0x30   KEY_VOLUMEDOWN>,						
				<0x70   KEY_VOLUMEUP>;
        };*/
	ir_key3 {
            rockchip,usercode = <0x8801>;
            rockchip,key_table =                        
				<0x8f   KEY_POWER>,
				<0x87   388>,    
				<0x8d   KEY_UP>,
				<0x88   KEY_DOWN>,
				<0x8b   KEY_LEFT>,
				<0x89   KEY_RIGHT>,
				<0x8a  KEY_ENTER>,			
				<0x85   KEY_MENU>,						
				<0x8e   KEY_BACK>,			
				<0x96   KEY_VOLUMEDOWN>,						
				<0x97   KEY_VOLUMEUP>;
        };		
};

&rk_rga {
	status = "okay";
};

&rkisp {
	status = "disabled";
};

&rkisp_mmu {
	status = "disabled";
};

&rkisp_vir0 {
	status = "disabled";

	port {
		#address-cells = <1>;
		#size-cells = <0>;

		isp0_in: endpoint@0 {
			reg = <0>;
			remote-endpoint = <&csidphy0_out>;
		};
	};
};

&rkvdec {
	status = "okay";
};

&rkvdec_mmu {
	status = "okay";
};

&rkvenc {
	status = "okay";
};

&rkvenc_mmu {
	status = "okay";
};

&route_dsi0 {
	status = "okay";
	//connect = <&vp0_out_dsi0>;
};

&route_hdmi {
	status = "disabled";
	connect = <&vp1_out_hdmi>;
};

&saradc {
	status = "okay";
	vref-supply = <&vcc_1v8>;
};

&sdhci {
	bus-width = <8>;
	supports-emmc;
	non-removable;
	rockchip,txclk-tapnum = <0x8>;
	max-frequency = <200000000>;
	status = "okay";
};

/*&sdmmc0 {
	max-frequency = <150000000>;
	supports-sd;
	bus-width = <4>;
	cap-mmc-highspeed;
	cap-sd-highspeed;
	disable-wp;
	sd-uhs-sdr104;
	vmmc-supply = <&vcc_sd>;
	vqmmc-supply = <&vccio_sd>;
	pinctrl-names = "default";
	pinctrl-0 = <&sdmmc0_bus4 &sdmmc0_clk &sdmmc0_cmd &sdmmc0_det>;
	status = "okay";
};*/

&sdmmc1 {
	max-frequency = <150000000>;
	supports-sdio;
	bus-width = <4>;
	disable-wp;
	cap-sd-highspeed;
	cap-sdio-irq;
	keep-power-in-suspend;
	mmc-pwrseq = <&sdio_pwrseq>;
	non-removable;
	pinctrl-names = "default";
	pinctrl-0 = <&sdmmc1_bus4 &sdmmc1_cmd &sdmmc1_clk>;
	sd-uhs-sdr104;
	rockchip,default-sample-phase = <90>;
	status = "okay";
};

&tsadc {
	status = "okay";
};

&uart1 {
	status = "okay";
	pinctrl-names = "default";
	pinctrl-0 = <&uart1m0_xfer &uart1m0_ctsn>;
};

/* add by rocky USB 3.0 OTG/SATA Combo PHY_0 */
&combphy0_us {
	status = "okay";
};

/* add by rocky USB 3.0 Host/SATA/QSGMII Combo PHY_1 */
&combphy1_usq {
	status = "okay";
};

&combphy2_psq {
	status = "okay";
};

//add by rocky usb2 phy0
&u2phy0_host {
	//phy-supply = <&vcc5v0_host>;
	status = "okay";
};

&u2phy0_otg {
	//vbus-supply = <&vcc5v0_otg>;
	status = "okay";
};

//add by rocky usb2.0 phy1
&u2phy1_host {
	//phy-supply = <&vcc5v0_host>;
	status = "okay";
};

&u2phy1_otg {
	//phy-supply = <&vcc5v0_host>;
	status = "okay";
};

/* add by rocky USB OTG/USB Host_1 USB 2.0 Comb PHY_0 */
&usb2phy0 {
	status = "okay";
};

/* add by rocky USB Host_1/USB Host_2 USB 2.0 Comb PHY_0 */
&usb2phy1 {
	status = "okay";
};

/* add by rocky USB 2.0 Host_2 EHCI controller for high speed */
&usb_host0_ehci {
	status = "okay";
};

/* add by rocky USB 2.0 Host_2 OHCI controller for full/low speed */
&usb_host0_ohci {
	status = "okay";
};

/* add by rocky USB 2.0 Host_3 EHCI controller for high speed */
&usb_host1_ehci {
	status = "okay";
};

/* add by rocky USB 2.0 Host_3 OHCI controller for full/low speed */
&usb_host1_ohci {
	status = "okay";
};

&usbdrd_dwc3 {
	dr_mode = "otg";
	extcon = <&usb2phy0>;
	status = "okay";
};

/* add by rocky USB 3.0 OTG controller */
&usbdrd30 {
	status = "okay";
};

&usbhost_dwc3 {
	status = "okay";
};

/* add by rocky USB 3.0 Host_1 controller */
&usbhost30 {
	status = "okay";
};

&vdpu {
	status = "okay";
};

&vdpu_mmu {
	status = "okay";
};

&vepu {
	status = "okay";
};

&vepu_mmu {
	status = "okay";
};

&vop {
	status = "okay";
	//assigned-clocks = <&cru DCLK_VOP0>, <&cru DCLK_VOP1>;
	//assigned-clock-parents = <&pmucru PLL_HPLL>, <&cru PLL_VPLL>;
};

&vop_mmu {
	status = "okay";
};

#if 0 //rocky
&iep {
	status = "okay";
};

&iep_mmu {
	status = "okay";
};

&jpegd {
	status = "okay";
};

&jpegd_mmu {
	status = "okay";
};

&mpp_srv {
	status = "okay";
};
#endif

&gmac1 {
	phy-mode = "rgmii";
	clock_in_out = "output";//rk3566 provide
	//clock_in_out = "input";//phy provide

	snps,reset-gpio = <&gpio4 RK_PC2 GPIO_ACTIVE_LOW>;
	snps,reset-active-low;
	/* Reset time is 20ms, 100ms for rtl8211f */
	snps,reset-delays-us = <0 20000 100000>;

	assigned-clocks = <&cru SCLK_GMAC1_RX_TX>, <&cru SCLK_GMAC1>;
	assigned-clock-parents = <&cru SCLK_GMAC1_RGMII_SPEED>, <&cru CLK_MAC1_2TOP>;//rk3566 provide
	//assigned-clock-parents = <&cru SCLK_GMAC1_RGMII_SPEED>, <&cru CLK_MAC1_2TOP>, <&gmac1_clkin>;//phy provide
	assigned-clock-rates = <0>, <125000000>;

	pinctrl-names = "default";
	#if 1//1-rk3566 provide   0-phy provide
	pinctrl-0 = <&gmac1m0_miim
		     &gmac1m0_tx_bus2_level3
		     &gmac1m0_rx_bus2
		     &gmac1m0_rgmii_clk_level2
		     &gmac1m0_rgmii_bus_level3>;
	#else
	pinctrl-0 = <&gmac1m0_miim
		     &gmac1m0_tx_bus2_level3
		     &gmac1m0_rx_bus2
		     &gmac1m0_rgmii_clk_level2
		     &gmac1m0_rgmii_bus_level3
			 &gmac1m0_clkinout>;
	#endif
	
	tx_delay = <0x3a>;//rk3566 provide
	rx_delay = <0x21>;//rk3566 provide
	//tx_delay = <0x3b>;//phy provide
	//rx_delay = <0x1f>;//phy provide

	phy-handle = <&rgmii_phy1>;
	status = "disabled";
};

&mdio1 {
	status = "disabled";
	rgmii_phy1: phy@0 {
		compatible = "ethernet-phy-ieee802.3-c22";
		reg = <0x0>;
	};
};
